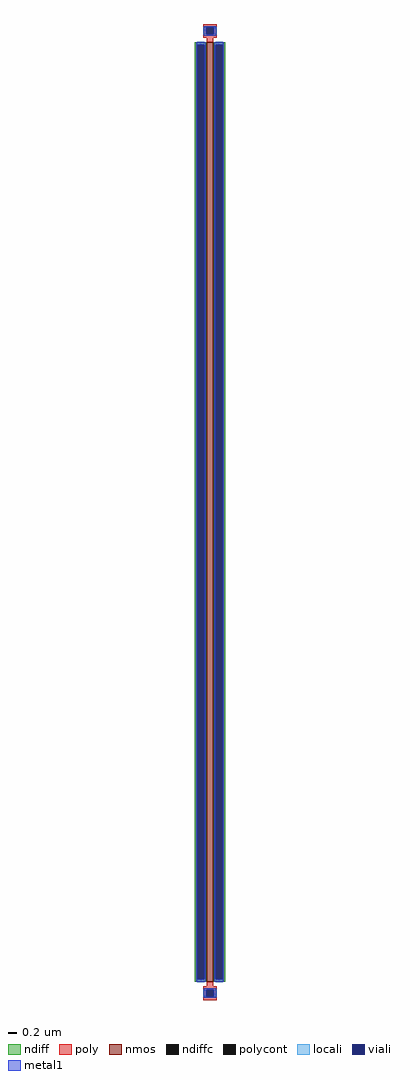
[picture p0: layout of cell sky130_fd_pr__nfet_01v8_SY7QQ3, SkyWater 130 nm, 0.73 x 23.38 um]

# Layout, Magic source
magic
tech sky130A
magscale 1 2
<< nmos >>
rect -15 -2250 15 2250
<< ndiff >>
rect -73 2238 -15 2250
rect -73 -2238 -61 2238
rect -27 -2238 -15 2238
rect -73 -2250 -15 -2238
rect 15 2238 73 2250
rect 15 -2238 27 2238
rect 61 -2238 73 2238
rect 15 -2250 73 -2238
<< ndiffc >>
rect -61 -2238 -27 2238
rect 27 -2238 61 2238
<< poly >>
rect -33 2322 33 2338
rect -33 2288 -17 2322
rect 17 2288 33 2322
rect -33 2272 33 2288
rect -15 2250 15 2272
rect -15 -2272 15 -2250
rect -33 -2288 33 -2272
rect -33 -2322 -17 -2288
rect 17 -2322 33 -2288
rect -33 -2338 33 -2322
<< polycont >>
rect -17 2288 17 2322
rect -17 -2322 17 -2288
<< locali >>
rect -33 2288 -17 2322
rect 17 2288 33 2322
rect -61 2238 -27 2254
rect -61 -2254 -27 -2238
rect 27 2238 61 2254
rect 27 -2254 61 -2238
rect -33 -2322 -17 -2288
rect 17 -2322 33 -2288
<< viali >>
rect -17 2288 17 2322
rect -61 -2238 -27 2238
rect 27 -2238 61 2238
rect -17 -2322 17 -2288
<< metal1 >>
rect -29 2322 29 2328
rect -29 2288 -17 2322
rect 17 2288 29 2322
rect -29 2282 29 2288
rect -67 2238 -21 2250
rect -67 -2238 -61 2238
rect -27 -2238 -21 2238
rect -67 -2250 -21 -2238
rect 21 2238 67 2250
rect 21 -2238 27 2238
rect 61 -2238 67 2238
rect 21 -2250 67 -2238
rect -29 -2288 29 -2282
rect -29 -2322 -17 -2288
rect 17 -2322 29 -2288
rect -29 -2328 29 -2322
<< properties >>
string gencell sky130_fd_pr__nfet_01v8
string parameters w 22.5 l 0.150 m 1 nf 1 diffcov 100 polycov 100 guard 0 glc 0 grc 0 gtc 0 gbc 0 tbcov 100 rlcov 100 topc 0 botc 0 poverlap 1 doverlap 0 lmin 0.15 wmin 0.42 compatible {sky130_fd_pr__nfet_01v8 sky130_fd_pr__nfet_01v8_lvt  sky130_fd_bs_flash__special_sonosfet_star  sky130_fd_pr__nfet_g5v0d10v5 sky130_fd_pr__nfet_05v0_nvt} full_metal 0 viasrc 100 viadrn 100 viagate 100 viagb 0 viagr 0 viagl 0 viagt 0
string library sky130
<< end >>
